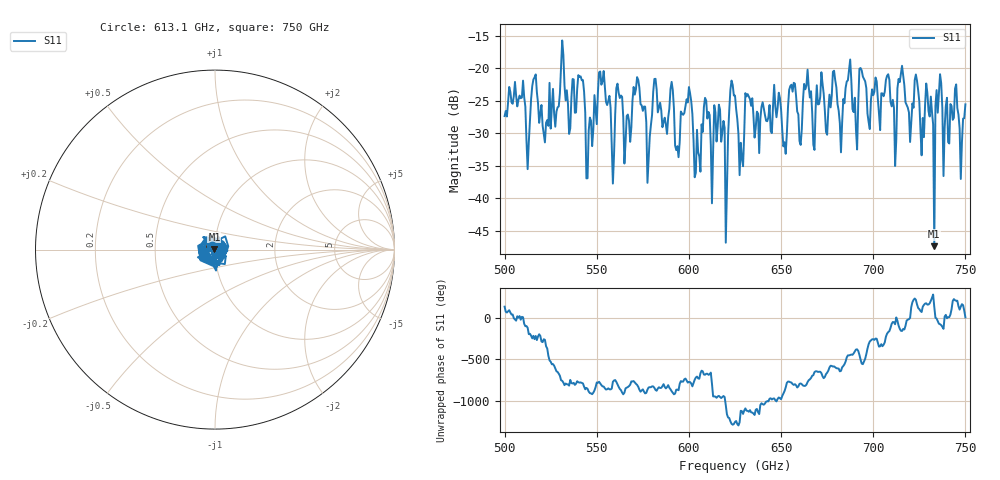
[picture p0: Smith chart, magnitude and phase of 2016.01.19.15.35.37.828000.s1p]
!Created with skrf (http://scikit-rf.org).
# GHz S RI R 50.0
!freq ReS11 ImS11
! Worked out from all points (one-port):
!   401 points, 500 GHz to 750 GHz, reference 50 ohm
!   lowest |S11| = -47.4 dB at 733.1 GHz (marker M1), VSWR 1.01, Z = 49.7 + j0.3 ohm
!   |S11| at or under -10 dB: start of sweep to end of sweep
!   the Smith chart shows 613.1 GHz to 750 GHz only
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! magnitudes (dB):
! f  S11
! 500 GHz  -27.4
! 512.5 GHz  -35.5
! 516.2 GHz  -21.4
! 522.5 GHz  -28.4
! 531.2 GHz  -15.7
! 541.9 GHz  -21.9
! 545.6 GHz  -29.6
! 552.5 GHz  -22.5
! 558.8 GHz  -37.7
! 562.5 GHz  -24.6
! 578.1 GHz  -34.1
! 581.2 GHz  -21.7
! 590.6 GHz  -22.1
! 593.8 GHz  -32.0
! 600 GHz  -22.9
! 604.4 GHz  -29.5
! 609.4 GHz  -25.0
! 620 GHz  -46.8
! 625 GHz  -24.2
! 628.8 GHz  -33.9
! 631.9 GHz  -24.0
! 651.9 GHz  -31.4
! 656.2 GHz  -23.6
! 660 GHz  -31.2
! 687.5 GHz  -18.7
! 718.8 GHz  -26.1
! 733.1 GHz  -47.4
! 750 GHz  -25.6
